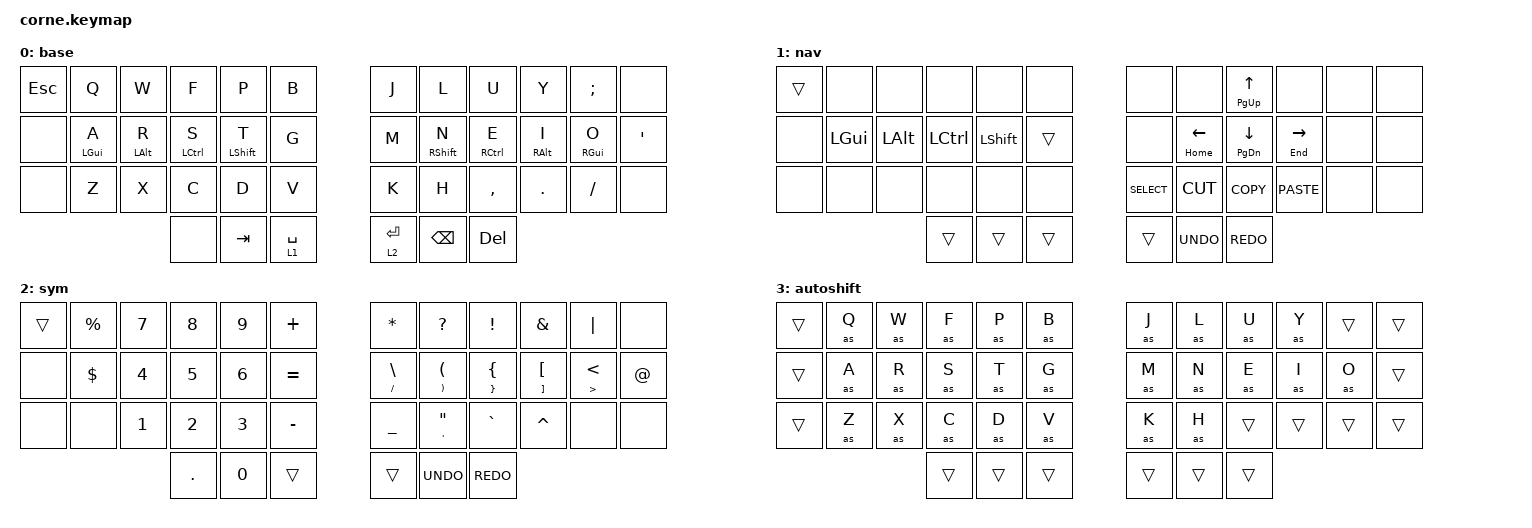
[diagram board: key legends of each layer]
/*
 * Copyright (c) 2020 The ZMK Contributors
 *
 * SPDX-License-Identifier: MIT
 */

#include <behaviors.dtsi>
#include <dt-bindings/zmk/bt.h>
#include <dt-bindings/zmk/keys.h>

&sk { /delete-property/ ignore-modifiers; };

/ {
    combos {
        compatible = "zmk,combos";

        ClearAllProfiles {
            bindings = <&bt BT_CLR_ALL>;
            key-positions = <24 12 36>;
        };

        P0-select {
            bindings = <&bt BT_SEL 0>;
            key-positions = <12 24 6>;
        };

        P1-select {
            bindings = <&bt BT_SEL 1>;
            key-positions = <12 24 7>;
        };

        P2-select {
            bindings = <&bt BT_SEL 2>;
            key-positions = <12 24 8>;
        };

        P3-select {
            bindings = <&bt BT_SEL 3>;
            key-positions = <12 24 9>;
        };

        P4-select {
            bindings = <&bt BT_SEL 4>;
            key-positions = <12 24 10>;
        };

        P0-disconnect {
            bindings = <&bt BT_DISC 0>;
            key-positions = <12 24 1>;
        };

        P1-disconnect {
            bindings = <&bt BT_DISC 1>;
            key-positions = <24 12 2>;
        };

        P2-disconnect {
            bindings = <&bt BT_DISC 2>;
            key-positions = <24 12 3>;
        };

        P3-disconnect {
            bindings = <&bt BT_DISC 3>;
            key-positions = <12 24 4>;
        };

        P4-disconnect {
            bindings = <&bt BT_DISC 4>;
            key-positions = <24 12 5>;
        };

        BT-Next {
            bindings = <&bt BT_NXT>;
            key-positions = <12 24 35>;
        };

        BT-Previous {
            bindings = <&bt BT_PRV>;
            key-positions = <24 12 11>;
        };
    };

    macros {
        shift: shift {
            compatible = "zmk,behavior-macro-one-param";
            #binding-cells = <1>;
            bindings =
                <&macro_press>,
                <&kp LSHFT>,
                <&macro_tap>,
                <&macro_param_1to1 &kp MACRO_PLACEHOLDER>,
                <&macro_release>,
                <&kp LSHFT>;

            label = "SHIFT";
        };

        as: as {
            compatible = "zmk,behavior-macro-one-param";
            #binding-cells = <1>;
            bindings =
                <&macro_press>,
                <&macro_param_1to1 &macro_param_1to2 &as_ht MACRO_PLACEHOLDER MACRO_PLACEHOLDER>,
                <&macro_pause_for_release>,
                <&macro_release>,
                <&macro_param_1to1 &macro_param_1to2 &as_ht MACRO_PLACEHOLDER MACRO_PLACEHOLDER>;

            label = "AS";
        };
    };

    behaviors {
        as_ht: autoshift_hold_tap {
            compatible = "zmk,behavior-hold-tap";
            label = "AUTOSHIFT_HOLD_TAP";
            bindings = <&shift>, <&kp>;

            #binding-cells = <2>;
            tapping-term-ms = <190>;
        };

        hml: homerow_mods_left {
            compatible = "zmk,behavior-hold-tap";
            label = "HOMEROW_MODS_LEFT_HAND";
            bindings = <&kp>, <&kp>;

            #binding-cells = <2>;
            tapping-term-ms = <301>;
            hold-trigger-key-positions = <39 40 41 35 34 22 23 6 7 8 9 10 11 18 19 20 21 22 23 30 31 32 33 34 35>;
        };

        hmr: homerow_mods_right {
            compatible = "zmk,behavior-hold-tap";
            label = "HOMEROW_MODS_RIGHT_HAND";
            bindings = <&kp>, <&kp>;

            #binding-cells = <2>;
            tapping-term-ms = <301>;
            hold-trigger-key-positions = <0 1 2 3 4 5 12 13 14 15 16 17 24 25 26 27 28 29 36 37 38>;
        };
    };

    keymap {
        compatible = "zmk,keymap";

        base {
            // -----------------------------------------------------------------------------------------
            // |  TAB |  Q  |  W  |  E  |  R  |  T  |   |  Y  |  U   |  I  |  O  |  P  | BKSP |
            // | CTRL |  A  |  S  |  D  |  F  |  G  |   |  H  |  J   |  K  |  L  |  ;  |  '   |
            // | SHFT |  Z  |  X  |  C  |  V  |  B  |   |  N  |  M   |  ,  |  .  |  /  | ESC  |
            //                    | GUI | LWR | SPC |   | ENT | RSE  | ALT |

            bindings = <
&kp ESCAPE  &kp Q            &kp W            &kp F                &kp P              &kp B          &kp J         &kp L               &kp U                 &kp Y             &kp SEMICOLON     &none
&none       &hml LEFT_GUI A  &hml LEFT_ALT R  &hml LEFT_CONTROL S  &hml LEFT_SHIFT T  &kp G          &kp M         &hmr RIGHT_SHIFT N  &hmr RIGHT_CONTROL E  &hmr RIGHT_ALT I  &hmr RIGHT_GUI O  &kp SINGLE_QUOTE
&none       &kp Z            &kp X            &kp C                &kp D              &kp V          &kp K         &kp H               &kp COMMA             &kp DOT           &kp SLASH         &none
                                              &none                &kp TAB            &lt 1 SPACE    &lt 2 RETURN  &kp BACKSPACE       &kp DELETE
            >;
        };

        nav {
            bindings = <
&trans  &none     &none     &none      &none      &none     &none         &none           &hmr PG_UP UP        &none           &none  &none
&none   &kp LGUI  &kp LALT  &kp LCTRL  &kp LSHFT  &trans    &none         &hmr HOME LEFT  &hmr PAGE_DOWN DOWN  &hmr END RIGHT  &none  &none
&none   &none     &none     &none      &none      &none     &kp K_SELECT  &kp K_CUT       &kp K_COPY           &kp K_PASTE     &none  &none
                            &trans     &trans     &trans    &trans        &kp K_UNDO      &kp K_REDO
            >;
        };

        sym {
            bindings = <
&trans  &kp PERCENT  &kp N7  &kp N8   &kp N9  &kp PLUS     &kp ASTERISK          &kp QUESTION                             &kp EXCLAMATION              &kp AMPERSAND                    &kp PIPE                     &none
&none   &kp DOLLAR   &kp N4  &kp N5   &kp N6  &kp EQUAL    &hmr SLASH BACKSLASH  &hmr RIGHT_PARENTHESIS LEFT_PARENTHESIS  &hmr RIGHT_BRACE LEFT_BRACE  &hmr RIGHT_BRACKET LEFT_BRACKET  &hmr GREATER_THAN LESS_THAN  &kp AT_SIGN
&none   &none        &kp N1  &kp N2   &kp N3  &kp MINUS    &kp UNDERSCORE        &hmr SINGLE_QUOTE DOUBLE_QUOTES          &kp GRAVE                    &kp CARET                        &none                        &none
                             &kp DOT  &kp N0  &trans       &trans                &kp K_UNDO                               &kp K_REDO
            >;
        };

        autoshift {
            bindings = <
&trans  &as Q  &as W  &as F   &as P   &as B     &as J   &as L   &as U   &as Y   &trans  &trans
&trans  &as A  &as R  &as S   &as T   &as G     &as M   &as N   &as E   &as I   &as O   &trans
&trans  &as Z  &as X  &as C   &as D   &as V     &as K   &as H   &trans  &trans  &trans  &trans
                      &trans  &trans  &trans    &trans  &trans  &trans
            >;
        };
    };
};
